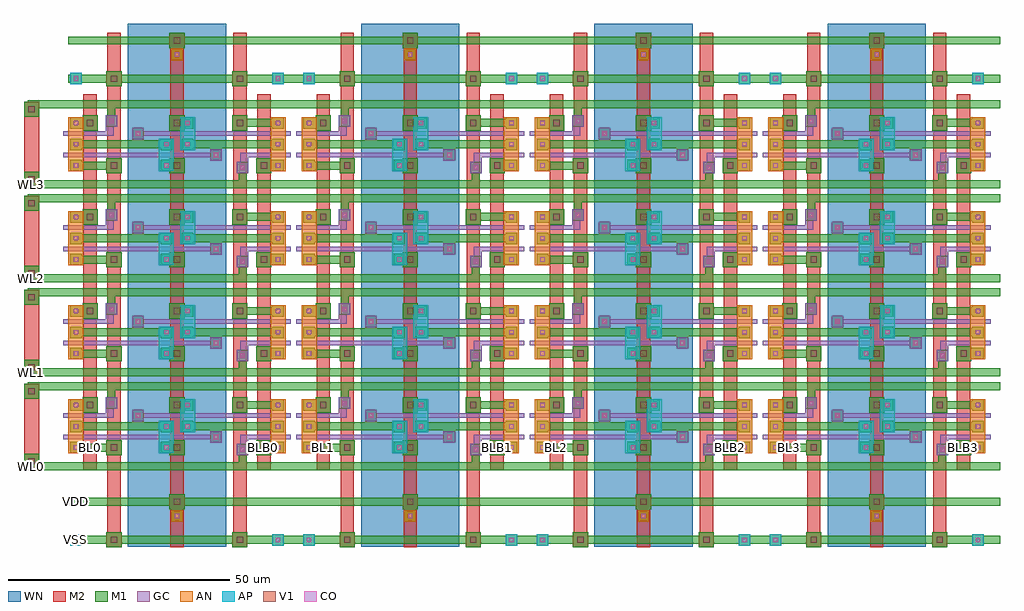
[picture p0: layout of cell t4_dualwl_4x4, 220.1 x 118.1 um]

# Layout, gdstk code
import gdstk
lib = gdstk.Library(unit=1e-6, precision=1e-07)
def R(c, l, rs):  # rectangles x0, y0, x1, y1
    for r in rs: c.add(gdstk.rectangle(r[:2], r[2:], *l))
def A(c, l, x, y, w, h, nx, ny, dx, dy):  # array of equal rectangles
    R(c, l, [(x+i*dx, y+j*dy, x+i*dx+w, y+j*dy+h) for i in range(nx) for j in range(ny)])
def P(c, l, *ps):  # polygons
    for p in ps: c.add(gdstk.Polygon(p, *l))
AP = (3, 1)
AN = (3, 2)
GC = (8, 1)
CO = (11, 0)
M1 = (13, 0)
V1 = (19, 0)
M2 = (20, 0)
WN = (140, 0)

t4_core = lib.new_cell('t4_core')
R(t4_core, AP, [(18.7,-1.3,22.1,6.1), (23.5,3.5,26.9,10.9)])
R(t4_core, AN, [(-1.7,-1.3,1.7,10.9), (43.9,-1.3,47.3,10.9)])
P(t4_core, GC, [(36.3,-1.7),(36.3,0.9),(37.1,0.9),(37.1,2.9),(48.5,2.9),(48.5,1.9),(38.9,1.9),(38.9,-1.7)],
  [(30.3,1.1),(30.3,1.9),(-2.9,1.9),(-2.9,2.9),(30.3,2.9),(30.3,3.7),(32.9,3.7),(32.9,1.1)],
  [(12.7,5.9),(12.7,8.5),(15.3,8.5),(15.3,7.7),(48.5,7.7),(48.5,6.7),(15.3,6.7),(15.3,5.9)],
  [(-2.9,6.7),(-2.9,7.7),(6.7,7.7),(6.7,11.3),(9.3,11.3),(9.3,8.7),(8.5,8.7),(8.5,6.7)])
A(t4_core, CO, -0.5, -0.5, 1, 1, 1, 3, 0, 4.8)
A(t4_core, CO, 45.1, -0.5, 1, 1, 1, 3, 0, 4.8)
R(t4_core, CO, [(37.1,-0.9,38.1,0.1), (19.9,-0.5,20.9,0.5), (31.1,1.9,32.1,2.9), (19.9,4.3,20.9,5.3), (24.7,4.3,25.7,5.3), (13.5,6.7,14.5,7.7), (24.7,9.1,25.7,10.1), (7.5,9.5,8.5,10.5)])
P(t4_core, M1, [(-2,-5.1),(-2,-3.3),(36.7,-3.3),(36.7,-1.7),(36.3,-1.7),(36.3,0.9),(38.9,0.9),(38.9,-1.7),(38.5,-1.7),(38.5,-3.3),(50.6,-3.3),(50.6,-5.1)],
  [(6.9,-1.7),(6.9,-0.9),(1.3,-0.9),(1.3,-1.3),(-1.3,-1.3),(-1.3,1.3),(1.3,1.3),(1.3,0.9),(6.9,0.9),(6.9,1.7),(10.3,1.7),(10.3,-1.7)],
  [(21.1,-1.7),(21.1,-1.3),(19.1,-1.3),(19.1,1.3),(21.1,1.3),(21.1,1.7),(24.5,1.7),(24.5,-1.7)],
  [(40.7,-1.7),(40.7,1.7),(44.1,1.7),(44.1,1.3),(46.9,1.3),(46.9,-1.3),(44.1,-1.3),(44.1,-1.7)],
  [(30.3,1.1),(30.3,3.9),(26.5,3.9),(26.5,3.5),(23.9,3.5),(23.9,6.1),(26.5,6.1),(26.5,5.7),(44.3,5.7),(44.3,6.1),(46.9,6.1),(46.9,3.5),(44.3,3.5),(44.3,3.9),(32.9,3.9),(32.9,1.1)],
  [(-1.3,3.5),(-1.3,6.1),(1.3,6.1),(1.3,5.7),(12.7,5.7),(12.7,8.5),(15.3,8.5),(15.3,5.7),(19.1,5.7),(19.1,6.1),(21.7,6.1),(21.7,3.5),(19.1,3.5),(19.1,3.9),(1.3,3.9),(1.3,3.5)],
  [(1.5,7.9),(1.5,8.3),(-1.3,8.3),(-1.3,10.9),(1.5,10.9),(1.5,11.3),(4.9,11.3),(4.9,7.9)],
  [(21.1,7.9),(21.1,11.3),(24.5,11.3),(24.5,10.9),(26.5,10.9),(26.5,8.3),(24.5,8.3),(24.5,7.9)],
  [(35.3,7.9),(35.3,11.3),(38.7,11.3),(38.7,10.5),(44.3,10.5),(44.3,10.9),(46.9,10.9),(46.9,8.3),(44.3,8.3),(44.3,8.7),(38.7,8.7),(38.7,7.9)],
  [(6.7,8.7),(6.7,11.3),(7.1,11.3),(7.1,12.9),(-2,12.9),(-2,14.7),(50.6,14.7),(50.6,12.9),(8.9,12.9),(8.9,11.3),(9.3,11.3),(9.3,8.7)])
R(t4_core, V1, [(7.9,-0.7,9.3,0.7), (22.1,-0.7,23.5,0.7), (41.7,-0.7,43.1,0.7), (2.5,8.9,3.9,10.3), (22.1,8.9,23.5,10.3), (36.3,8.9,37.7,10.3)])
A(t4_core, M2, 7.1, -5.1, 3, 21.2, 3, 1, 14.2, 0)
R(t4_core, M2, [(1.7,-5.1,4.7,16.1), (40.9,-5.1,43.9,16.1), (6.9,-1.7,10.3,1.7), (21.1,-1.7,24.5,1.7), (40.7,-1.7,44.1,1.7), (1.5,7.9,4.9,11.3), (21.1,7.9,24.5,11.3), (35.3,7.9,38.7,11.3)])
R(t4_core, WN, [(11.7,-8.3,33.9,17.9)])

t4_dualwl_4x4 = lib.new_cell('t4_dualwl_4x4')
R(t4_dualwl_4x4, AP, [(-1.3,-22.1,1.3,-19.5), (44.3,-22.1,46.9,-19.5), (51.3,-22.1,53.9,-19.5), (96.9,-22.1,99.5,-19.5), (103.9,-22.1,106.5,-19.5), (149.5,-22.1,152.1,-19.5), (156.5,-22.1,159.1,-19.5), (202.1,-22.1,204.7,-19.5), (-1.3,81.9,1.3,84.5), (44.3,81.9,46.9,84.5), (51.3,81.9,53.9,84.5), (96.9,81.9,99.5,84.5), (103.9,81.9,106.5,84.5), (149.5,81.9,152.1,84.5), (156.5,81.9,159.1,84.5), (202.1,81.9,204.7,84.5)])
A(t4_dualwl_4x4, AN, 21.5, -16.7, 2.6, 2.6, 4, 2, 52.6, 104)
A(t4_dualwl_4x4, CO, 22.3, -15.9, 1, 1, 4, 2, 52.6, 104)
R(t4_dualwl_4x4, CO, [(-0.5,-21.3,0.5,-20.3), (45.1,-21.3,46.1,-20.3), (52.1,-21.3,53.1,-20.3), (97.7,-21.3,98.7,-20.3), (104.7,-21.3,105.7,-20.3), (150.3,-21.3,151.3,-20.3), (157.3,-21.3,158.3,-20.3), (202.9,-21.3,203.9,-20.3), (-0.5,82.7,0.5,83.7), (45.1,82.7,46.1,83.7), (52.1,82.7,53.1,83.7), (97.7,82.7,98.7,83.7), (104.7,82.7,105.7,83.7), (150.3,82.7,151.3,83.7), (157.3,82.7,158.3,83.7), (202.9,82.7,203.9,83.7)])
P(t4_dualwl_4x4, M1, [(6.9,-22.5),(6.9,-21.7),(1.3,-21.7),(1.3,-22.1),(-1.3,-22.1),(-1.3,-21.7),(-1.7,-21.7),(-1.7,-19.9),(-1.3,-19.9),(-1.3,-19.5),(1.3,-19.5),(1.3,-19.9),(6.9,-19.9),(6.9,-19.1),(10.3,-19.1),(10.3,-19.9),(35.3,-19.9),(35.3,-19.1),(38.7,-19.1),(38.7,-19.9),(44.3,-19.9),(44.3,-19.5),(46.9,-19.5),(46.9,-19.9),(51.3,-19.9),(51.3,-19.5),(53.9,-19.5),(53.9,-19.9),(59.5,-19.9),(59.5,-19.1),(62.9,-19.1),(62.9,-19.9),(87.9,-19.9),(87.9,-19.1),(91.3,-19.1),(91.3,-19.9),(96.9,-19.9),(96.9,-19.5),(99.5,-19.5),(99.5,-19.9),(103.9,-19.9),(103.9,-19.5),(106.5,-19.5),(106.5,-19.9),(112.1,-19.9),(112.1,-19.1),(115.5,-19.1),(115.5,-19.9),(140.5,-19.9),(140.5,-19.1),(143.9,-19.1),(143.9,-19.9),(149.5,-19.9),(149.5,-19.5),(152.1,-19.5),(152.1,-19.9),(156.5,-19.9),(156.5,-19.5),(159.1,-19.5),(159.1,-19.9),(164.7,-19.9),(164.7,-19.1),(168.1,-19.1),(168.1,-19.9),(193.1,-19.9),(193.1,-19.1),(196.5,-19.1),(196.5,-19.9),(202.1,-19.9),(202.1,-19.5),(204.7,-19.5),(204.7,-19.9),(208.4,-19.9),(208.4,-21.7),(204.7,-21.7),(204.7,-22.1),(202.1,-22.1),(202.1,-21.7),(196.5,-21.7),(196.5,-22.5),(193.1,-22.5),(193.1,-21.7),(168.1,-21.7),(168.1,-22.5),(164.7,-22.5),(164.7,-21.7),(159.1,-21.7),(159.1,-22.1),(156.5,-22.1),(156.5,-21.7),(152.1,-21.7),(152.1,-22.1),(149.5,-22.1),(149.5,-21.7),(143.9,-21.7),(143.9,-22.5),(140.5,-22.5),(140.5,-21.7),(115.5,-21.7),(115.5,-22.5),(112.1,-22.5),(112.1,-21.7),(106.5,-21.7),(106.5,-22.1),(103.9,-22.1),(103.9,-21.7),(99.5,-21.7),(99.5,-22.1),(96.9,-22.1),(96.9,-21.7),(91.3,-21.7),(91.3,-22.5),(87.9,-22.5),(87.9,-21.7),(62.9,-21.7),(62.9,-22.5),(59.5,-22.5),(59.5,-21.7),(53.9,-21.7),(53.9,-22.1),(51.3,-22.1),(51.3,-21.7),(46.9,-21.7),(46.9,-22.1),(44.3,-22.1),(44.3,-21.7),(38.7,-21.7),(38.7,-22.5),(35.3,-22.5),(35.3,-21.7),(10.3,-21.7),(10.3,-22.5)],
  [(21.5,-16.7),(21.5,-13.9),(21.1,-13.9),(21.1,-13.1),(-1.7,-13.1),(-1.7,-11.3),(21.1,-11.3),(21.1,-10.5),(24.5,-10.5),(24.5,-11.3),(73.7,-11.3),(73.7,-10.5),(77.1,-10.5),(77.1,-11.3),(126.3,-11.3),(126.3,-10.5),(129.7,-10.5),(129.7,-11.3),(178.9,-11.3),(178.9,-10.5),(182.3,-10.5),(182.3,-11.3),(208.4,-11.3),(208.4,-13.1),(182.3,-13.1),(182.3,-13.9),(181.9,-13.9),(181.9,-16.7),(179.3,-16.7),(179.3,-13.9),(178.9,-13.9),(178.9,-13.1),(129.7,-13.1),(129.7,-13.9),(129.3,-13.9),(129.3,-16.7),(126.7,-16.7),(126.7,-13.9),(126.3,-13.9),(126.3,-13.1),(77.1,-13.1),(77.1,-13.9),(76.7,-13.9),(76.7,-16.7),(74.1,-16.7),(74.1,-13.9),(73.7,-13.9),(73.7,-13.1),(24.5,-13.1),(24.5,-13.9),(24.1,-13.9),(24.1,-16.7)],
  [(-10.9,-5.1),(-10.9,-4.8),(-11.7,-4.8),(-11.7,-1.4),(-8.3,-1.4),(-8.3,-3.3),(-1.1,-3.3),(-1.1,-5.1)],
  [(-11.7,11),(-11.7,14.4),(-10.9,14.4),(-10.9,14.7),(-1.1,14.7),(-1.1,12.9),(-8.3,12.9),(-8.3,11)],
  [(-10.9,16.1),(-10.9,16.4),(-11.7,16.4),(-11.7,19.8),(-8.3,19.8),(-8.3,17.9),(-1.1,17.9),(-1.1,16.1)],
  [(-11.7,32.2),(-11.7,35.6),(-10.9,35.6),(-10.9,35.9),(-1.1,35.9),(-1.1,34.1),(-8.3,34.1),(-8.3,32.2)],
  [(-10.9,37.3),(-10.9,37.6),(-11.7,37.6),(-11.7,41),(-8.3,41),(-8.3,39.1),(-1.1,39.1),(-1.1,37.3)],
  [(-11.7,53.4),(-11.7,56.8),(-10.9,56.8),(-10.9,57.1),(-1.1,57.1),(-1.1,55.3),(-8.3,55.3),(-8.3,53.4)],
  [(-10.9,58.5),(-10.9,58.8),(-11.7,58.8),(-11.7,62.2),(-8.3,62.2),(-8.3,60.3),(-1.1,60.3),(-1.1,58.5)],
  [(-11.7,74.6),(-11.7,78),(-10.9,78),(-10.9,78.3),(-1.1,78.3),(-1.1,76.5),(-8.3,76.5),(-8.3,74.6)],
  [(6.9,81.5),(6.9,82.3),(1.3,82.3),(1.3,81.9),(-1.3,81.9),(-1.3,82.3),(-1.7,82.3),(-1.7,84.1),(-1.3,84.1),(-1.3,84.5),(1.3,84.5),(1.3,84.1),(6.9,84.1),(6.9,84.9),(10.3,84.9),(10.3,84.1),(35.3,84.1),(35.3,84.9),(38.7,84.9),(38.7,84.1),(44.3,84.1),(44.3,84.5),(46.9,84.5),(46.9,84.1),(51.3,84.1),(51.3,84.5),(53.9,84.5),(53.9,84.1),(59.5,84.1),(59.5,84.9),(62.9,84.9),(62.9,84.1),(87.9,84.1),(87.9,84.9),(91.3,84.9),(91.3,84.1),(96.9,84.1),(96.9,84.5),(99.5,84.5),(99.5,84.1),(103.9,84.1),(103.9,84.5),(106.5,84.5),(106.5,84.1),(112.1,84.1),(112.1,84.9),(115.5,84.9),(115.5,84.1),(140.5,84.1),(140.5,84.9),(143.9,84.9),(143.9,84.1),(149.5,84.1),(149.5,84.5),(152.1,84.5),(152.1,84.1),(156.5,84.1),(156.5,84.5),(159.1,84.5),(159.1,84.1),(164.7,84.1),(164.7,84.9),(168.1,84.9),(168.1,84.1),(193.1,84.1),(193.1,84.9),(196.5,84.9),(196.5,84.1),(202.1,84.1),(202.1,84.5),(204.7,84.5),(204.7,84.1),(208.4,84.1),(208.4,82.3),(204.7,82.3),(204.7,81.9),(202.1,81.9),(202.1,82.3),(196.5,82.3),(196.5,81.5),(193.1,81.5),(193.1,82.3),(168.1,82.3),(168.1,81.5),(164.7,81.5),(164.7,82.3),(159.1,82.3),(159.1,81.9),(156.5,81.9),(156.5,82.3),(152.1,82.3),(152.1,81.9),(149.5,81.9),(149.5,82.3),(143.9,82.3),(143.9,81.5),(140.5,81.5),(140.5,82.3),(115.5,82.3),(115.5,81.5),(112.1,81.5),(112.1,82.3),(106.5,82.3),(106.5,81.9),(103.9,81.9),(103.9,82.3),(99.5,82.3),(99.5,81.9),(96.9,81.9),(96.9,82.3),(91.3,82.3),(91.3,81.5),(87.9,81.5),(87.9,82.3),(62.9,82.3),(62.9,81.5),(59.5,81.5),(59.5,82.3),(53.9,82.3),(53.9,81.9),(51.3,81.9),(51.3,82.3),(46.9,82.3),(46.9,81.9),(44.3,81.9),(44.3,82.3),(38.7,82.3),(38.7,81.5),(35.3,81.5),(35.3,82.3),(10.3,82.3),(10.3,81.5)],
  [(21.5,87.3),(21.5,90.1),(21.1,90.1),(21.1,90.9),(-1.7,90.9),(-1.7,92.7),(21.1,92.7),(21.1,93.5),(24.5,93.5),(24.5,92.7),(73.7,92.7),(73.7,93.5),(77.1,93.5),(77.1,92.7),(126.3,92.7),(126.3,93.5),(129.7,93.5),(129.7,92.7),(178.9,92.7),(178.9,93.5),(182.3,93.5),(182.3,92.7),(208.4,92.7),(208.4,90.9),(182.3,90.9),(182.3,90.1),(181.9,90.1),(181.9,87.3),(179.3,87.3),(179.3,90.1),(178.9,90.1),(178.9,90.9),(129.7,90.9),(129.7,90.1),(129.3,90.1),(129.3,87.3),(126.7,87.3),(126.7,90.1),(126.3,90.1),(126.3,90.9),(77.1,90.9),(77.1,90.1),(76.7,90.1),(76.7,87.3),(74.1,87.3),(74.1,90.1),(73.7,90.1),(73.7,90.9),(24.5,90.9),(24.5,90.1),(24.1,90.1),(24.1,87.3)])
A(t4_dualwl_4x4, V1, 22.1, -12.9, 1.4, 1.4, 4, 2, 52.6, 104)
R(t4_dualwl_4x4, V1, [(7.9,-21.5,9.3,-20.1), (36.3,-21.5,37.7,-20.1), (60.5,-21.5,61.9,-20.1), (88.9,-21.5,90.3,-20.1), (113.1,-21.5,114.5,-20.1), (141.5,-21.5,142.9,-20.1), (165.7,-21.5,167.1,-20.1), (194.1,-21.5,195.5,-20.1), (-10.7,-3.8,-9.3,-2.4), (-10.7,12,-9.3,13.4), (-10.7,17.4,-9.3,18.8), (-10.7,33.2,-9.3,34.6), (-10.7,38.6,-9.3,40), (-10.7,54.4,-9.3,55.8), (-10.7,59.8,-9.3,61.2), (-10.7,75.6,-9.3,77), (7.9,82.5,9.3,83.9), (36.3,82.5,37.7,83.9), (60.5,82.5,61.9,83.9), (88.9,82.5,90.3,83.9), (113.1,82.5,114.5,83.9), (141.5,82.5,142.9,83.9), (165.7,82.5,167.1,83.9), (194.1,82.5,195.5,83.9)])
A(t4_dualwl_4x4, M2, 7.1, -22.5, 3, 116, 3, 1, 14.2, 0)
A(t4_dualwl_4x4, M2, 59.7, -22.5, 3, 116, 3, 1, 14.2, 0)
A(t4_dualwl_4x4, M2, 112.3, -22.5, 3, 116, 3, 1, 14.2, 0)
A(t4_dualwl_4x4, M2, 164.9, -22.5, 3, 116, 3, 1, 14.2, 0)
A(t4_dualwl_4x4, M2, 21.1, -13.9, 3.4, 3.4, 4, 2, 52.6, 104)
A(t4_dualwl_4x4, M2, -11.7, -4.8, 3.4, 19.2, 1, 4, 0, 21.2)
R(t4_dualwl_4x4, M2, [(6.9,-22.5,10.3,-19.1), (35.3,-22.5,38.7,-19.1), (59.5,-22.5,62.9,-19.1), (87.9,-22.5,91.3,-19.1), (112.1,-22.5,115.5,-19.1), (140.5,-22.5,143.9,-19.1), (164.7,-22.5,168.1,-19.1), (193.1,-22.5,196.5,-19.1), (-11.7,-4.8,-8.3,-1.4), (-11.7,11,-8.3,14.4), (-11.7,16.4,-8.3,19.8), (-11.7,32.2,-8.3,35.6), (-11.7,37.6,-8.3,41), (-11.7,53.4,-8.3,56.8), (-11.7,58.8,-8.3,62.2), (-11.7,74.6,-8.3,78), (6.9,81.5,10.3,84.9), (35.3,81.5,38.7,84.9), (59.5,81.5,62.9,84.9), (87.9,81.5,91.3,84.9), (112.1,81.5,115.5,84.9), (140.5,81.5,143.9,84.9), (164.7,81.5,168.1,84.9), (193.1,81.5,196.5,84.9)])
A(t4_dualwl_4x4, WN, 11.7, -22.4, 22.2, 118, 4, 1, 52.6, 0)
t4_dualwl_4x4.add(gdstk.Reference(t4_core, (0,0)))
t4_dualwl_4x4.add(gdstk.Reference(t4_core, (52.6,0)))
t4_dualwl_4x4.add(gdstk.Reference(t4_core, (105.2,0)))
t4_dualwl_4x4.add(gdstk.Reference(t4_core, (157.8,0)))
t4_dualwl_4x4.add(gdstk.Reference(t4_core, (0,21.2)))
t4_dualwl_4x4.add(gdstk.Reference(t4_core, (52.6,21.2)))
t4_dualwl_4x4.add(gdstk.Reference(t4_core, (105.2,21.2)))
t4_dualwl_4x4.add(gdstk.Reference(t4_core, (157.8,21.2)))
t4_dualwl_4x4.add(gdstk.Reference(t4_core, (0,42.4)))
t4_dualwl_4x4.add(gdstk.Reference(t4_core, (52.6,42.4)))
t4_dualwl_4x4.add(gdstk.Reference(t4_core, (105.2,42.4)))
t4_dualwl_4x4.add(gdstk.Reference(t4_core, (157.8,42.4)))
t4_dualwl_4x4.add(gdstk.Reference(t4_core, (0,63.6)))
t4_dualwl_4x4.add(gdstk.Reference(t4_core, (52.6,63.6)))
t4_dualwl_4x4.add(gdstk.Reference(t4_core, (105.2,63.6)))
t4_dualwl_4x4.add(gdstk.Reference(t4_core, (157.8,63.6)))
t4_dualwl_4x4.add(gdstk.Label('WL0', (-10,-4.2), layer=48, texttype=0))
t4_dualwl_4x4.add(gdstk.Label('WL1', (-10,17), layer=48, texttype=0))
t4_dualwl_4x4.add(gdstk.Label('WL2', (-10,38.2), layer=48, texttype=0))
t4_dualwl_4x4.add(gdstk.Label('WL3', (-10,59.4), layer=48, texttype=0))
t4_dualwl_4x4.add(gdstk.Label('VDD', (0,-12.2), layer=48, texttype=0))
t4_dualwl_4x4.add(gdstk.Label('VSS', (0,-20.8), layer=48, texttype=0))
t4_dualwl_4x4.add(gdstk.Label('BL0', (3.2,0), layer=49, texttype=0))
t4_dualwl_4x4.add(gdstk.Label('BLB0', (42.4,0), layer=49, texttype=0))
t4_dualwl_4x4.add(gdstk.Label('BL1', (55.8,0), layer=49, texttype=0))
t4_dualwl_4x4.add(gdstk.Label('BLB1', (95,0), layer=49, texttype=0))
t4_dualwl_4x4.add(gdstk.Label('BL2', (108.4,0), layer=49, texttype=0))
t4_dualwl_4x4.add(gdstk.Label('BLB2', (147.6,0), layer=49, texttype=0))
t4_dualwl_4x4.add(gdstk.Label('BL3', (161,0), layer=49, texttype=0))
t4_dualwl_4x4.add(gdstk.Label('BLB3', (200.2,0), layer=49, texttype=0))

lib.write_gds('t4_dualwl_4x4.gds')
